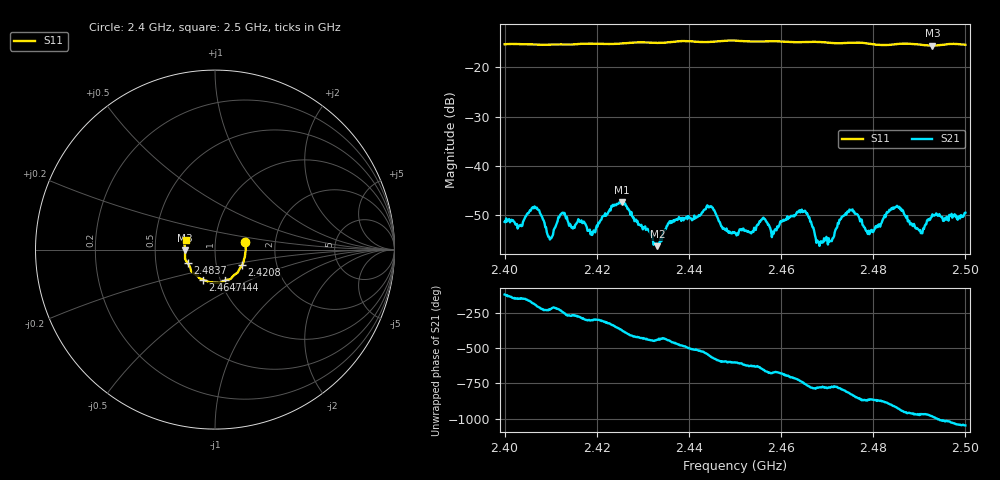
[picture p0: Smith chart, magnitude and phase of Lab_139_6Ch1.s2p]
# Hz S RI R 50
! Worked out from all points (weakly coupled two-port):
!   601 points, 2.4 GHz to 2.5 GHz, reference 50 ohm
!   highest |S21| = -47.35 dB at 2.4255 GHz (marker M1); lowest = -56.3 dB at 2.4332 GHz (marker M2)
!   lowest |S11| = -15.6 dB at 2.4928 GHz (marker M3), VSWR 1.40, Z = 35.7 - j0.326 ohm
!   |S11| at or under -10 dB: start of sweep to end of sweep
!   S12 and S22 are empty: the file has one direction only
!   S11 on the Smith chart (normalised r, x): 2.4 GHz: 1.39, +0.12; 2.4208 GHz: 1.33, -0.24; 2.444 GHz: 1.05, -0.37; 2.4647 GHz: 0.83, -0.29; 2.4837 GHz: 0.73, -0.11; 2.5 GHz: 0.72, +0.08
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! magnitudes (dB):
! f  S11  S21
! 2.4 GHz  -15.3  -51.4
! 2.4067 GHz  -15.4  -48.5
! 2.4098 GHz  -15.4  -55.0
! 2.4125 GHz  -15.3  -49.6
! 2.4167 GHz  -15.2  -51.1
! 2.4208 GHz  -15.2  -51.1
! 2.4255 GHz  -15.1  -47.3
! 2.4332 GHz  -15.0  -56.3
! 2.4333 GHz  -15.0  -56.2
! 2.4357 GHz  -14.9  -51.7
! 2.444 GHz  -14.9  -48.0
! 2.45 GHz  -14.6  -53.6
! 2.4647 GHz  -14.9  -49.4
! 2.4667 GHz  -14.8  -52.0
! 2.4687 GHz  -14.9  -55.3
! 2.4748 GHz  -15.0  -48.9
! 2.479 GHz  -15.2  -53.2
! 2.4833 GHz  -15.4  -49.4
! 2.4837 GHz  -15.4  -49.0
! 2.4902 GHz  -15.4  -53.1
! 2.4928 GHz  -15.6  -49.9
! 2.5 GHz  -15.4  -49.5
